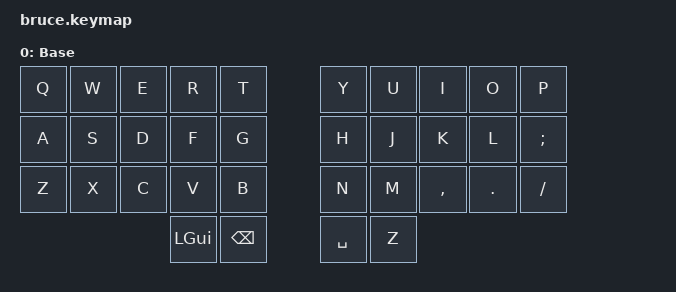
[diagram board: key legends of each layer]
/*
 * Copyright (c) 2023 The ZMK Contributors
 *
 * SPDX-License-Identifier: MIT
 */

#include <behaviors.dtsi>
#include <dt-bindings/zmk/bt.h>
#include <dt-bindings/zmk/keys.h>

/ {
    keymap {
        compatible = "zmk,keymap";

        base {
            display-name = "Base";
            bindings = <
&kp Q       &kp W       &kp E      &kp R &kp T    &kp Y      &kp U       &kp I          &kp O         &kp P
&kp A       &kp S       &kp D      &kp F &kp G    &kp H      &kp J       &kp K          &kp L         &kp SEMI
&kp Z &kp X &kp C &kp V &kp B    &kp N      &kp M       &kp COMMA &kp DOT &kp SLASH
                                   &kp LGUI       &kp BSPC &kp SPACE &kp Z
            >;
        };


    };
};
